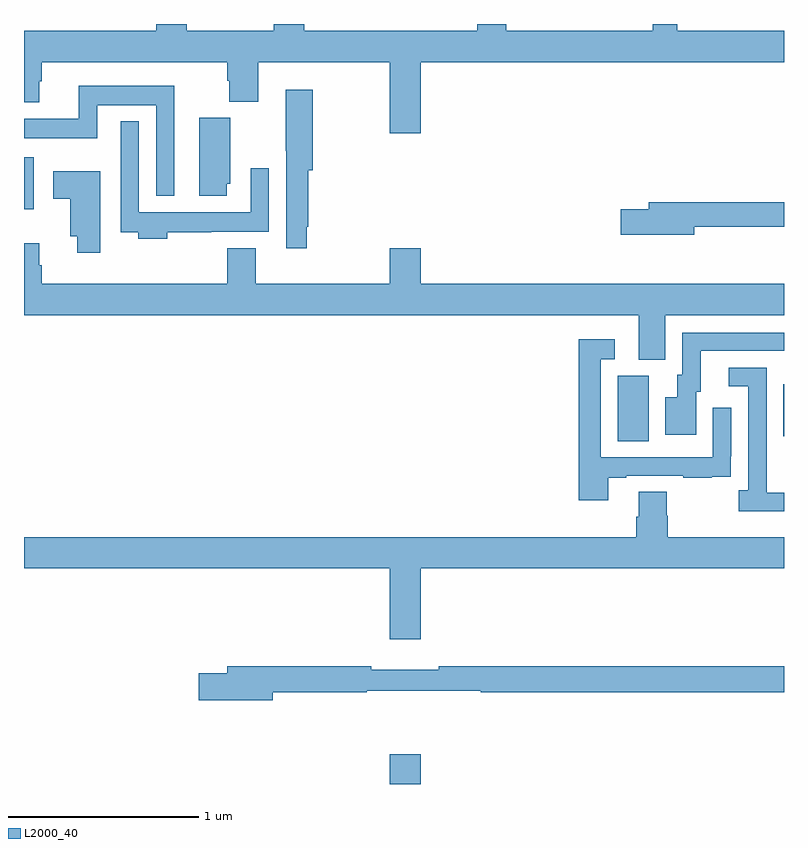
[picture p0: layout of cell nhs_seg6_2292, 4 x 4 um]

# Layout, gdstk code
import gdstk
lib = gdstk.Library(unit=1e-6, precision=1e-09)
def R(c, l, rs):  # rectangles x0, y0, x1, y1
    for r in rs: c.add(gdstk.rectangle(r[:2], r[2:], *l))
def P(c, l, *ps):  # polygons
    for p in ps: c.add(gdstk.Polygon(p, *l))
L2000_40 = (2000, 40)

nhs_seg6_2292 = lib.new_cell('nhs_seg6_2292')
R(nhs_seg6_2292, L2000_40, [(248.924,979.5,249.088,979.657), (250.124,981.304,250.288,981.648), (250.997,981.329,251,981.604), (247,982.526,247.051,982.798)])
P(nhs_seg6_2292, L2000_40, [(247.857,983.5),(247.697,983.5),(247.697,983.464),(247,983.464),(247,983.087),(247.081,983.087),(247.081,983.199),(247.094,983.199),(247.094,983.3),(248.069,983.3),(248.069,983.201),(248.081,983.201),(248.081,983.092),(248.234,983.092),(248.234,983.3),(248.924,983.3),(248.924,982.926),(249.088,982.926),(249.088,983.3),(251,983.3),(251,983.464),(250.439,983.464),(250.439,983.5),(250.31,983.5),(250.31,983.464),(249.538,983.464),(249.538,983.5),(249.386,983.5),(249.386,983.464),(248.474,983.464),(248.474,983.5),(248.314,983.5),(248.314,983.464),(247.857,983.464)],
  [(247.792,983.176),(247.289,983.176),(247.289,983.002),(247,983.002),(247,982.898),(247.386,982.898),(247.386,983.072),(247.695,983.072),(247.695,982.595),(247.792,982.595)],
  [(248.488,982.432),(248.495,982.432),(248.495,982.73),(248.52,982.73),(248.52,983.155),(248.378,983.155),(248.378,982.834),(248.379,982.834),(248.379,982.32),(248.488,982.32)],
  [(248.068,982.659),(248.086,982.659),(248.086,983.007),(247.922,983.007),(247.922,982.596),(248.068,982.596)],
  [(247.754,982.404),(247.985,982.404),(247.985,982.406),(248.289,982.406),(248.289,982.741),(248.193,982.741),(248.193,982.51),(247.605,982.51),(247.605,982.987),(247.509,982.987),(247.509,982.404),(247.601,982.404),(247.601,982.37),(247.754,982.37)],
  [(247.402,982.726),(247.155,982.726),(247.155,982.579),(247.244,982.579),(247.244,982.382),(247.28,982.382),(247.28,982.296),(247.402,982.296)],
  [(250.528,982.434),(251,982.434),(251,982.562),(250.289,982.562),(250.289,982.526),(250.14,982.526),(250.14,982.391),(250.528,982.391)],
  [(249.088,982.321),(248.924,982.321),(248.924,982.132),(248.221,982.132),(248.221,982.321),(248.069,982.321),(248.069,982.132),(247.094,982.132),(247.094,982.23),(247.081,982.23),(247.081,982.345),(247,982.345),(247,981.968),(250.235,981.968),(250.235,981.733),(250.375,981.733),(250.375,981.968),(251,981.968),(251,982.132),(249.088,982.132)],
  [(250.537,981.564),(250.561,981.564),(250.561,981.78),(251,981.78),(251,981.876),(250.464,981.876),(250.464,981.654),(250.439,981.654),(250.439,981.535),(250.376,981.535),(250.376,981.339),(250.537,981.339)],
  [(250.075,981.111),(250.171,981.111),(250.171,981.123),(250.471,981.123),(250.471,981.111),(250.619,981.111),(250.619,981.117),(250.721,981.117),(250.721,981.226),(250.722,981.226),(250.722,981.481),(250.626,981.481),(250.626,981.219),(250.035,981.219),(250.035,981.735),(250.108,981.735),(250.108,981.841),(249.919,981.841),(249.919,980.994),(250.075,980.994)],
  [(251,981.033),(250.909,981.033),(250.909,981.233),(250.908,981.233),(250.908,981.69),(250.71,981.69),(250.71,981.594),(250.812,981.594),(250.812,981.046),(250.761,981.046),(250.761,980.936),(251,980.936)],
  [(249.088,980.636),(251,980.636),(251,980.8),(250.388,980.8),(250.388,980.913),(250.383,980.913),(250.383,981.038),(250.235,981.038),(250.235,980.906),(250.223,980.906),(250.223,980.8),(247,980.8),(247,980.636),(248.924,980.636),(248.924,980.262),(249.088,980.262)],
  [(248.308,979.984),(248.804,979.984),(248.804,979.992),(249.404,979.992),(249.404,979.984),(251,979.984),(251,980.12),(249.184,980.12),(249.184,980.101),(248.828,980.101),(248.828,980.12),(248.069,980.12),(248.069,980.084),(247.92,980.084),(247.92,979.942),(248.308,979.942)])

lib.write_gds('nhs_seg6_2292.gds')
